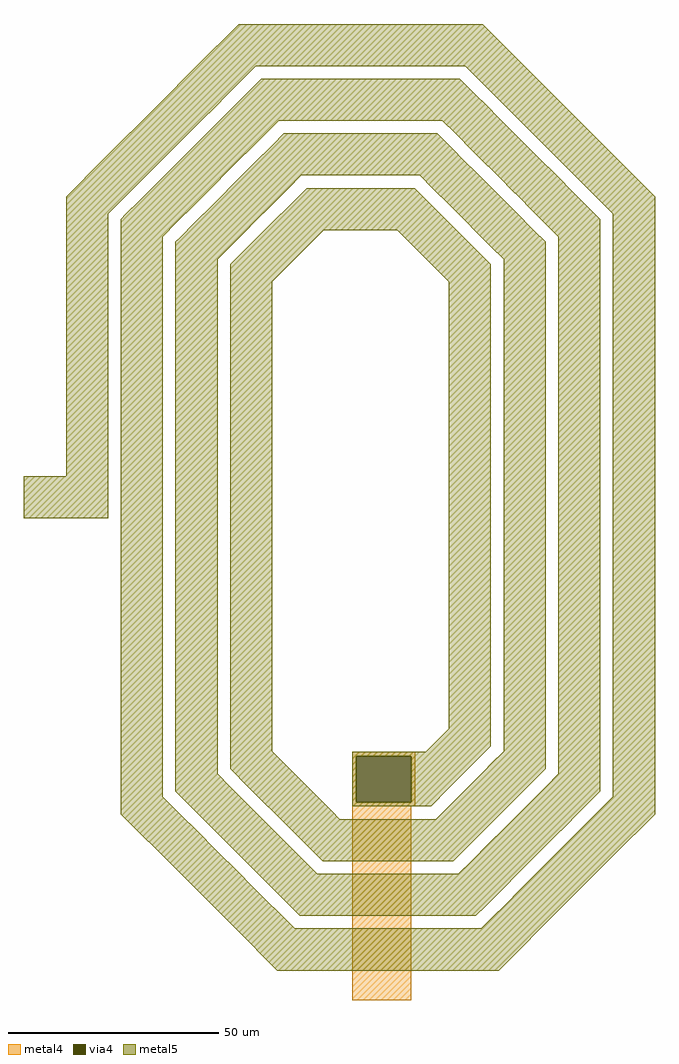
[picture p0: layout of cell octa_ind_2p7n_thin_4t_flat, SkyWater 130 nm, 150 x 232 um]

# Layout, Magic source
magic
tech sky130B
magscale 1 2
<< metal4 >>
rect -21700 -32300 -18700 -32100
rect -21700 -34500 -21500 -32300
rect -18900 -34500 -18700 -32300
rect -21700 -34700 -18700 -34500
rect -21700 -43900 -18900 -34700
<< via4 >>
rect -21500 -34500 -18900 -32300
<< metal5 >>
tri -29099 500 -27099 2500 se
rect -27099 500 -15501 2500
tri -15501 500 -13501 2500 sw
tri -30928 -1329 -29099 500 se
rect -29099 -100 -26871 500
tri -26871 -100 -26271 500 nw
tri -16329 -100 -15729 500 ne
rect -15729 -100 -13501 500
rect -29099 -949 -27720 -100
tri -27720 -949 -26871 -100 nw
tri -26871 -949 -26022 -100 se
rect -26022 -949 -16578 -100
tri -16578 -949 -15729 -100 sw
tri -15729 -949 -14880 -100 ne
rect -14880 -949 -13501 -100
rect -29099 -1329 -28100 -949
tri -28100 -1329 -27720 -949 nw
tri -27251 -1329 -26871 -949 se
rect -26871 -1251 -15729 -949
tri -15729 -1251 -15427 -949 sw
tri -14880 -1251 -14578 -949 ne
rect -14578 -1251 -13501 -949
rect -26871 -1329 -15427 -1251
tri -33528 -3929 -30928 -1329 se
rect -30928 -2178 -28949 -1329
tri -28949 -2178 -28100 -1329 nw
tri -28100 -2178 -27251 -1329 se
rect -27251 -2100 -15427 -1329
tri -15427 -2100 -14578 -1251 sw
tri -14578 -2100 -13729 -1251 ne
rect -13729 -2100 -13501 -1251
tri -13501 -2100 -10901 500 sw
rect -27251 -2178 -25794 -2100
rect -30928 -2406 -29177 -2178
tri -29177 -2406 -28949 -2178 nw
tri -28328 -2406 -28100 -2178 se
rect -28100 -2406 -25794 -2178
rect -30928 -3255 -30026 -2406
tri -30026 -3255 -29177 -2406 nw
tri -29177 -3255 -28328 -2406 se
rect -28328 -2700 -25794 -2406
tri -25794 -2700 -25194 -2100 nw
tri -17406 -2700 -16806 -2100 ne
rect -16806 -2700 -14578 -2100
rect -28328 -3255 -26349 -2700
tri -26349 -3255 -25794 -2700 nw
tri -25500 -3255 -24945 -2700 se
rect -24945 -3255 -17655 -2700
rect -30928 -3929 -30700 -3255
tri -30700 -3929 -30026 -3255 nw
tri -29851 -3929 -29177 -3255 se
rect -29177 -3929 -27198 -3255
tri -35300 -5701 -33528 -3929 se
rect -33528 -4778 -31549 -3929
tri -31549 -4778 -30700 -3929 nw
tri -30700 -4778 -29851 -3929 se
rect -29851 -4104 -27198 -3929
tri -27198 -4104 -26349 -3255 nw
tri -26349 -4104 -25500 -3255 se
rect -25500 -3549 -17655 -3255
tri -17655 -3549 -16806 -2700 sw
tri -16806 -3549 -15957 -2700 ne
rect -15957 -2949 -14578 -2700
tri -14578 -2949 -13729 -2100 sw
tri -13729 -2949 -12880 -2100 ne
rect -12880 -2949 -10901 -2100
rect -15957 -3002 -13729 -2949
tri -13729 -3002 -13676 -2949 sw
tri -12880 -3002 -12827 -2949 ne
rect -12827 -3002 -10901 -2949
rect -15957 -3549 -13676 -3002
rect -25500 -3851 -16806 -3549
tri -16806 -3851 -16504 -3549 sw
tri -15957 -3851 -15655 -3549 ne
rect -15655 -3851 -13676 -3549
tri -13676 -3851 -12827 -3002 sw
tri -12827 -3851 -11978 -3002 ne
rect -11978 -3851 -10901 -3002
rect -25500 -4104 -16504 -3851
rect -29851 -4700 -27794 -4104
tri -27794 -4700 -27198 -4104 nw
tri -26945 -4700 -26349 -4104 se
rect -26349 -4700 -16504 -4104
tri -16504 -4700 -15655 -3851 sw
tri -15655 -4700 -14806 -3851 ne
rect -14806 -4700 -12827 -3851
tri -12827 -4700 -11978 -3851 sw
tri -11978 -4700 -11129 -3851 ne
rect -11129 -4700 -10901 -3851
tri -10901 -4700 -8301 -2100 sw
rect -29851 -4778 -28100 -4700
rect -33528 -5006 -31777 -4778
tri -31777 -5006 -31549 -4778 nw
tri -30928 -5006 -30700 -4778 se
rect -30700 -5006 -28100 -4778
tri -28100 -5006 -27794 -4700 nw
tri -27251 -5006 -26945 -4700 se
rect -26945 -5006 -24717 -4700
rect -33528 -5701 -32626 -5006
rect -35300 -5855 -32626 -5701
tri -32626 -5855 -31777 -5006 nw
tri -31777 -5855 -30928 -5006 se
rect -30928 -5855 -28949 -5006
tri -28949 -5855 -28100 -5006 nw
tri -28100 -5855 -27251 -5006 se
rect -27251 -5300 -24717 -5006
tri -24717 -5300 -24117 -4700 nw
tri -18483 -5300 -17883 -4700 ne
rect -17883 -5300 -15655 -4700
rect -27251 -5855 -25500 -5300
rect -35300 -19000 -33300 -5855
tri -33300 -6529 -32626 -5855 nw
tri -31851 -5929 -31777 -5855 se
rect -31777 -5929 -29177 -5855
tri -32451 -6529 -31851 -5929 se
rect -31851 -6083 -29177 -5929
tri -29177 -6083 -28949 -5855 nw
tri -28328 -6083 -28100 -5855 se
rect -28100 -6083 -25500 -5855
tri -25500 -6083 -24717 -5300 nw
tri -24651 -6083 -23868 -5300 se
rect -23868 -6083 -18732 -5300
rect -31851 -6529 -30026 -6083
rect -37300 -21000 -33300 -19000
tri -32700 -6778 -32451 -6529 se
rect -32451 -6778 -30026 -6529
rect -32700 -6932 -30026 -6778
tri -30026 -6932 -29177 -6083 nw
tri -29177 -6932 -28328 -6083 se
rect -28328 -6932 -26349 -6083
tri -26349 -6932 -25500 -6083 nw
tri -25500 -6932 -24651 -6083 se
rect -24651 -6149 -18732 -6083
tri -18732 -6149 -17883 -5300 sw
tri -17883 -6149 -17034 -5300 ne
rect -17034 -5549 -15655 -5300
tri -15655 -5549 -14806 -4700 sw
tri -14806 -5549 -13957 -4700 ne
rect -13957 -5549 -11978 -4700
tri -11978 -5549 -11129 -4700 sw
tri -11129 -5549 -10280 -4700 ne
rect -10280 -5549 -8301 -4700
rect -17034 -5602 -14806 -5549
tri -14806 -5602 -14753 -5549 sw
tri -13957 -5602 -13904 -5549 ne
rect -13904 -5602 -11129 -5549
rect -17034 -6149 -14753 -5602
rect -24651 -6932 -17883 -6149
tri -17883 -6932 -17100 -6149 sw
tri -17034 -6932 -16251 -6149 ne
rect -16251 -6451 -14753 -6149
tri -14753 -6451 -13904 -5602 sw
tri -13904 -6451 -13055 -5602 ne
rect -13055 -5929 -11129 -5602
tri -11129 -5929 -10749 -5549 sw
tri -10280 -5929 -9900 -5549 ne
rect -9900 -5701 -8301 -5549
tri -8301 -5701 -7300 -4700 sw
rect -9900 -5929 -7300 -5701
rect -13055 -6451 -10749 -5929
rect -16251 -6932 -13904 -6451
rect -32700 -34832 -30700 -6932
tri -30700 -7606 -30026 -6932 nw
tri -29251 -7006 -29177 -6932 se
rect -29177 -7006 -26717 -6932
tri -29851 -7606 -29251 -7006 se
rect -29251 -7300 -26717 -7006
tri -26717 -7300 -26349 -6932 nw
tri -25868 -7300 -25500 -6932 se
rect -25500 -7300 -17100 -6932
tri -17100 -7300 -16732 -6932 sw
tri -16251 -7300 -15883 -6932 ne
rect -15883 -7300 -13904 -6932
tri -13904 -7300 -13055 -6451 sw
tri -13055 -7300 -12206 -6451 ne
rect -12206 -6778 -10749 -6451
tri -10749 -6778 -9900 -5929 sw
tri -9900 -6529 -9300 -5929 ne
rect -12206 -7300 -9900 -6778
rect -29251 -7606 -27500 -7300
tri -30100 -7855 -29851 -7606 se
rect -29851 -7855 -27500 -7606
rect -30100 -8083 -27500 -7855
tri -27500 -8083 -26717 -7300 nw
tri -26651 -8083 -25868 -7300 se
rect -25868 -8083 -25500 -7300
rect -30100 -33755 -28100 -8083
tri -28100 -8683 -27500 -8083 nw
tri -27500 -8932 -26651 -8083 se
rect -26651 -8932 -25500 -8083
rect -27500 -32907 -25500 -8932
tri -25500 -9760 -23040 -7300 nw
tri -19560 -9760 -17100 -7300 ne
rect -17100 -8083 -16732 -7300
tri -16732 -8083 -15949 -7300 sw
tri -15883 -8083 -15100 -7300 ne
rect -15100 -7855 -13055 -7300
tri -13055 -7855 -12500 -7300 sw
tri -12206 -7606 -11900 -7300 ne
rect -15100 -8083 -12500 -7855
rect -17100 -8932 -15949 -8083
tri -15949 -8932 -15100 -8083 sw
tri -15100 -8683 -14500 -8083 ne
tri -28100 -33755 -27500 -33155 sw
tri -27500 -33755 -26652 -32907 ne
rect -26652 -33755 -25500 -32907
rect -30100 -33984 -27500 -33755
tri -30700 -34832 -30100 -34232 sw
tri -30100 -34832 -29252 -33984 ne
rect -29252 -34588 -27500 -33984
tri -27500 -34588 -26667 -33755 sw
tri -26652 -34588 -25819 -33755 ne
rect -25819 -34588 -25500 -33755
rect -29252 -34832 -26667 -34588
rect -32700 -35061 -30100 -34832
tri -30100 -35061 -29871 -34832 sw
tri -29252 -35061 -29023 -34832 ne
rect -29023 -34907 -26667 -34832
tri -26667 -34907 -26348 -34588 sw
tri -25819 -34907 -25500 -34588 ne
tri -25500 -34907 -22671 -32078 sw
tri -18199 -32100 -17100 -31001 se
rect -17100 -31830 -15100 -8932
rect -17100 -32100 -15948 -31830
rect -21700 -32300 -15948 -32100
rect -21700 -34500 -21500 -32300
rect -18900 -32678 -15948 -32300
tri -15948 -32678 -15100 -31830 nw
tri -15100 -32678 -14500 -32078 se
rect -14500 -32678 -12500 -8083
rect -18900 -32982 -16252 -32678
tri -16252 -32982 -15948 -32678 nw
tri -15122 -32700 -15100 -32678 se
rect -15100 -32700 -12500 -32678
tri -15404 -32982 -15122 -32700 se
rect -15122 -32907 -12500 -32700
rect -15122 -32982 -13348 -32907
rect -18900 -33830 -17100 -32982
tri -17100 -33830 -16252 -32982 nw
tri -16252 -33830 -15404 -32982 se
rect -15404 -33755 -13348 -32982
tri -13348 -33755 -12500 -32907 nw
tri -12500 -33755 -11900 -33155 se
rect -11900 -33755 -9900 -7300
rect -15404 -33830 -13423 -33755
tri -13423 -33830 -13348 -33755 nw
tri -12575 -33830 -12500 -33755 se
rect -12500 -33830 -9900 -33755
rect -18900 -34500 -17948 -33830
rect -21700 -34678 -17948 -34500
tri -17948 -34678 -17100 -33830 nw
tri -17100 -34678 -16252 -33830 se
rect -16252 -34678 -14271 -33830
tri -14271 -34678 -13423 -33830 nw
tri -13423 -34678 -12575 -33830 se
rect -12575 -33984 -9900 -33830
rect -12575 -34678 -10748 -33984
rect -21700 -34700 -17970 -34678
tri -17970 -34700 -17948 -34678 nw
rect -29023 -35061 -26348 -34907
tri -32700 -37736 -30025 -35061 ne
rect -30025 -35909 -29871 -35061
tri -29871 -35909 -29023 -35061 sw
tri -29023 -35909 -28175 -35061 ne
rect -28175 -35755 -26348 -35061
tri -26348 -35755 -25500 -34907 sw
tri -25500 -35755 -24652 -34907 ne
rect -24652 -35300 -22671 -34907
tri -22671 -35300 -22278 -34907 sw
tri -17722 -35300 -17100 -34678 se
rect -17100 -35300 -14893 -34678
tri -14893 -35300 -14271 -34678 nw
tri -14045 -35300 -13423 -34678 se
rect -13423 -34832 -10748 -34678
tri -10748 -34832 -9900 -33984 nw
tri -9900 -34832 -9300 -34232 se
rect -9300 -34832 -7300 -5929
rect -13423 -34907 -10823 -34832
tri -10823 -34907 -10748 -34832 nw
tri -9975 -34907 -9900 -34832 se
rect -9900 -34907 -7300 -34832
rect -13423 -35300 -11671 -34907
rect -24652 -35755 -15348 -35300
tri -15348 -35755 -14893 -35300 nw
tri -14500 -35755 -14045 -35300 se
rect -14045 -35755 -11671 -35300
tri -11671 -35755 -10823 -34907 nw
tri -10823 -35755 -9975 -34907 se
rect -9975 -35061 -7300 -34907
rect -9975 -35755 -9300 -35061
rect -28175 -35909 -25500 -35755
rect -30025 -36757 -29023 -35909
tri -29023 -36757 -28175 -35909 sw
tri -28175 -36757 -27327 -35909 ne
rect -27327 -36452 -25500 -35909
tri -25500 -36452 -24803 -35755 sw
tri -24652 -36452 -23955 -35755 ne
rect -23955 -36452 -16045 -35755
tri -16045 -36452 -15348 -35755 nw
tri -15197 -36452 -14500 -35755 se
rect -14500 -35984 -11900 -35755
tri -11900 -35984 -11671 -35755 nw
tri -11052 -35984 -10823 -35755 se
rect -10823 -35984 -9300 -35755
rect -14500 -36452 -12748 -35984
rect -27327 -36757 -24803 -36452
rect -30025 -36888 -28175 -36757
tri -28175 -36888 -28044 -36757 sw
tri -27327 -36888 -27196 -36757 ne
rect -27196 -36888 -24803 -36757
rect -30025 -37736 -28044 -36888
tri -28044 -37736 -27196 -36888 sw
tri -27196 -37736 -26348 -36888 ne
rect -26348 -37300 -24803 -36888
tri -24803 -37300 -23955 -36452 sw
tri -23955 -37300 -23107 -36452 ne
rect -23107 -37300 -16893 -36452
tri -16893 -37300 -16045 -36452 nw
tri -16045 -37300 -15197 -36452 se
rect -15197 -36832 -12748 -36452
tri -12748 -36832 -11900 -35984 nw
tri -11900 -36832 -11052 -35984 se
rect -11052 -36832 -9300 -35984
rect -15197 -37052 -12968 -36832
tri -12968 -37052 -12748 -36832 nw
tri -12120 -37052 -11900 -36832 se
rect -11900 -37052 -9300 -36832
rect -15197 -37300 -13816 -37052
rect -26348 -37736 -23955 -37300
tri -30025 -40500 -27261 -37736 ne
rect -27261 -38584 -27196 -37736
tri -27196 -38584 -26348 -37736 sw
tri -26348 -38584 -25500 -37736 ne
rect -25500 -37900 -23955 -37736
tri -23955 -37900 -23355 -37300 sw
tri -16645 -37900 -16045 -37300 se
rect -16045 -37900 -13816 -37300
tri -13816 -37900 -12968 -37052 nw
tri -12968 -37900 -12120 -37052 se
rect -12120 -37061 -9300 -37052
tri -9300 -37061 -7300 -35061 nw
rect -12120 -37900 -11900 -37061
rect -25500 -38584 -14500 -37900
tri -14500 -38584 -13816 -37900 nw
tri -13652 -38584 -12968 -37900 se
rect -12968 -38584 -11900 -37900
rect -27261 -39052 -26348 -38584
tri -26348 -39052 -25880 -38584 sw
tri -25500 -39052 -25032 -38584 ne
rect -25032 -39052 -15348 -38584
rect -27261 -39900 -25880 -39052
tri -25880 -39900 -25032 -39052 sw
tri -25032 -39900 -24184 -39052 ne
rect -24184 -39432 -15348 -39052
tri -15348 -39432 -14500 -38584 nw
tri -14500 -39432 -13652 -38584 se
rect -13652 -39432 -11900 -38584
rect -24184 -39900 -15816 -39432
tri -15816 -39900 -15348 -39432 nw
tri -14968 -39900 -14500 -39432 se
rect -14500 -39661 -11900 -39432
tri -11900 -39661 -9300 -37061 nw
rect -27261 -40500 -25032 -39900
tri -25032 -40500 -24432 -39900 sw
tri -15568 -40500 -14968 -39900 se
rect -14968 -40500 -14500 -39900
tri -27261 -42500 -25261 -40500 ne
rect -25261 -42261 -14500 -40500
tri -14500 -42261 -11900 -39661 nw
rect -25261 -42500 -14739 -42261
tri -14739 -42500 -14500 -42261 nw
<< end >>
